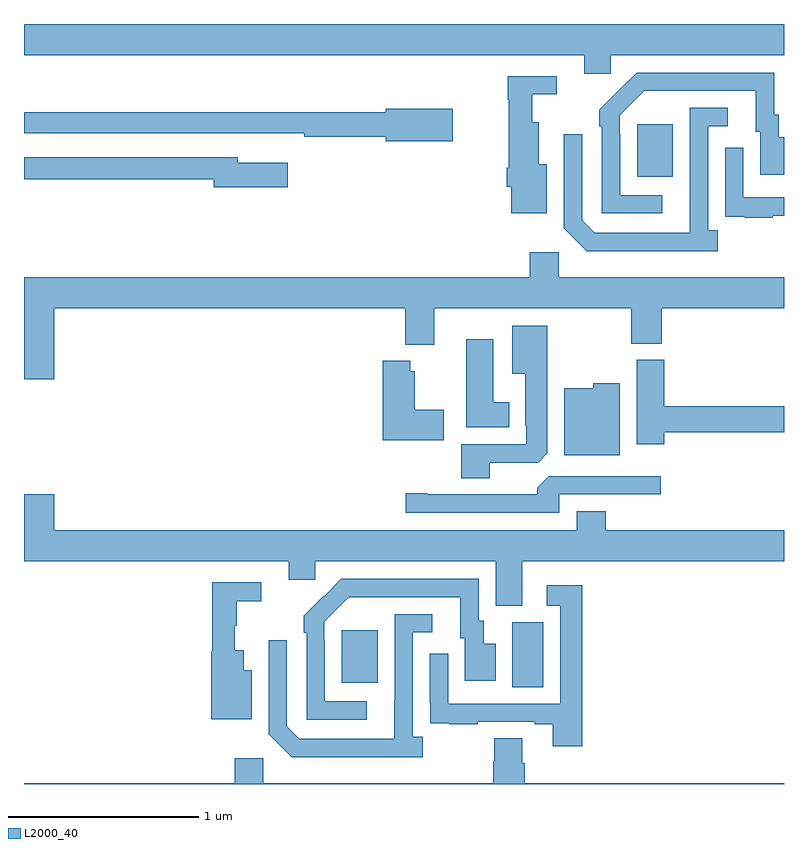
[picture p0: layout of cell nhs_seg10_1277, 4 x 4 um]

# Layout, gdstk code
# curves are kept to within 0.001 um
import gdstk
lib = gdstk.Library(unit=1e-6, precision=1e-09)
def R(c, l, rs):  # rectangles x0, y0, x1, y1
    for r in rs: c.add(gdstk.rectangle(r[:2], r[2:], *l))
def P(c, l, *ps):  # polygons
    for p in ps: c.add(gdstk.Polygon(p, *l))
L2000_40 = (2000, 40)

nhs_seg10_1277 = lib.new_cell('nhs_seg10_1277')
R(nhs_seg10_1277, L2000_40, [(179.57,1277.008,179.734,1277.352), (178.673,1277.033,178.861,1277.308), (180.227,1279.697,180.415,1279.972)])
P(nhs_seg10_1277, L2000_40, [(177,1280.336),(179.948,1280.336),(179.948,1280.238),(180.087,1280.238),(180.087,1280.336),(181,1280.336),(181,1280.5),(177,1280.5)],
  [(180.358,1279.599),(180.138,1279.599),(180.138,1279.919),(180.135,1279.919),(180.135,1280.019),(180.264,1280.148),(180.851,1280.148),(180.851,1279.932),(180.875,1279.932),(180.875,1279.707),(181,1279.707),(181,1279.903),(180.973,1279.903),(180.973,1280.022),(180.948,1280.022),(180.948,1280.244),(180.224,1280.244),(180.027,1280.049),(180.027,1279.961),(180.042,1279.961),(180.042,1279.503),(180.358,1279.503)],
  [(179.752,1279.762),(179.71,1279.762),(179.71,1279.984),(179.674,1279.984),(179.674,1280.129),(179.803,1280.129),(179.803,1280.226),(179.545,1280.226),(179.545,1280.102),(179.552,1280.102),(179.552,1279.744),(179.54,1279.744),(179.54,1279.644),(179.564,1279.644),(179.564,1279.505),(179.752,1279.505)],
  [(180.652,1279.414),(180.6,1279.414),(180.6,1279.962),(180.703,1279.962),(180.703,1280.058),(180.504,1280.058),(180.503,1279.401),(180.003,1279.401),(179.937,1279.467),(179.937,1279.921),(179.841,1279.921),(179.841,1279.425),(179.962,1279.304),(180.652,1279.304)],
  [(179.257,1280.053),(178.904,1280.053),(178.904,1280.035),(177,1280.035),(177,1279.926),(178.222,1279.926),(178.222,1279.925),(178.474,1279.925),(178.474,1279.906),(178.904,1279.906),(178.904,1279.883),(179.257,1279.883)],
  [(180.941,1279.491),(181,1279.491),(181,1279.587),(180.786,1279.587),(180.786,1279.849),(180.69,1279.849),(180.69,1279.594),(180.691,1279.594),(180.691,1279.485),(180.793,1279.485),(180.793,1279.479),(180.941,1279.479)],
  [(178.387,1279.771),(178.126,1279.771),(178.126,1279.8),(177,1279.8),(177,1279.684),(177.998,1279.684),(177.998,1279.642),(178.387,1279.642)],
  [(177.16,1279.004),(179.006,1279.004),(179.006,1278.812),(179.158,1278.812),(179.158,1279.004),(180.196,1279.004),(180.196,1278.817),(180.356,1278.817),(180.356,1279.004),(181,1279.004),(181,1279.168),(179.814,1279.168),(179.814,1279.3),(179.663,1279.3),(179.663,1279.168),(177,1279.168),(177,1278.63),(177.16,1278.63)],
  [(179.452,1278.192),(179.706,1278.192),(179.755,1278.241),(179.755,1278.913),(179.57,1278.913),(179.57,1278.659),(179.639,1278.659),(179.639,1278.385),(179.643,1278.385),(179.643,1278.288),(179.3,1278.288),(179.3,1278.109),(179.452,1278.109)],
  [(179.554,1278.508),(179.47,1278.508),(179.47,1278.841),(179.327,1278.841),(179.327,1278.377),(179.554,1278.377)],
  [(180.371,1278.352),(181,1278.352),(181,1278.488),(180.371,1278.488),(180.371,1278.732),(180.224,1278.732),(180.224,1278.288),(180.371,1278.288)],
  [(179.209,1278.471),(179.056,1278.471),(179.056,1278.673),(179.034,1278.673),(179.034,1278.727),(178.889,1278.727),(178.889,1278.308),(179.209,1278.308)],
  [(180.136,1278.61),(179.997,1278.61),(179.997,1278.583),(179.843,1278.583),(179.843,1278.23),(180.136,1278.23)],
  [(179.817,1278.024),(180.352,1278.024),(180.352,1278.12),(179.763,1278.12),(179.702,1278.058),(179.702,1278.024),(179.122,1278.024),(179.122,1278.029),(179.01,1278.029),(179.01,1277.928),(179.817,1277.928)],
  [(177.16,1278.025),(177,1278.025),(177,1277.672),(178.394,1277.672),(178.394,1277.574),(178.533,1277.574),(178.533,1277.672),(179.483,1277.672),(179.483,1277.437),(179.623,1277.437),(179.623,1277.672),(181,1277.672),(181,1277.836),(180.062,1277.836),(180.062,1277.935),(179.909,1277.935),(179.909,1277.836),(177.16,1277.836)],
  [(178.804,1276.935),(178.584,1276.935),(178.584,1277.255),(178.581,1277.255),(178.581,1277.355),(178.71,1277.484),(179.297,1277.484),(179.297,1277.268),(179.321,1277.268),(179.321,1277.043),(179.482,1277.043),(179.482,1277.239),(179.419,1277.239),(179.419,1277.358),(179.394,1277.358),(179.394,1277.58),(178.67,1277.58),(178.473,1277.385),(178.473,1277.297),(178.488,1277.297),(178.488,1276.839),(178.804,1276.839)],
  [(178.198,1277.098),(178.156,1277.098),(178.156,1277.203),(178.109,1277.203),(178.109,1277.334),(178.12,1277.334),(178.12,1277.461),(178.249,1277.461),(178.249,1277.562),(177.991,1277.562),(177.991,1277.199),(177.986,1277.199),(177.986,1276.841),(178.198,1276.841)],
  [(179.939,1277.545),(179.751,1277.545),(179.751,1277.439),(179.823,1277.439),(179.823,1276.923),(179.232,1276.923),(179.232,1277.185),(179.136,1277.185),(179.136,1276.93),(179.137,1276.93),(179.137,1276.821),(179.239,1276.821),(179.239,1276.815),(179.387,1276.815),(179.387,1276.827),(179.687,1276.827),(179.687,1276.815),(179.783,1276.815),(179.783,1276.698),(179.939,1276.698)],
  [(179.098,1276.75),(179.046,1276.75),(179.046,1277.298),(179.149,1277.298),(179.149,1277.394),(178.95,1277.394),(178.949,1276.737),(178.449,1276.737),(178.383,1276.803),(178.383,1277.257),(178.287,1277.257),(178.287,1276.761),(178.408,1276.64),(179.098,1276.64)],
  [(181,1276.504),(179.636,1276.504),(179.636,1276.61),(179.623,1276.61),(179.623,1276.742),(179.476,1276.742),(179.476,1276.617),(179.471,1276.617),(179.471,1276.504),(178.26,1276.504),(178.26,1276.636),(178.109,1276.636),(178.109,1276.504),(177,1276.504),(177,1276.5),(181,1276.5)])

lib.write_gds('nhs_seg10_1277.gds')
